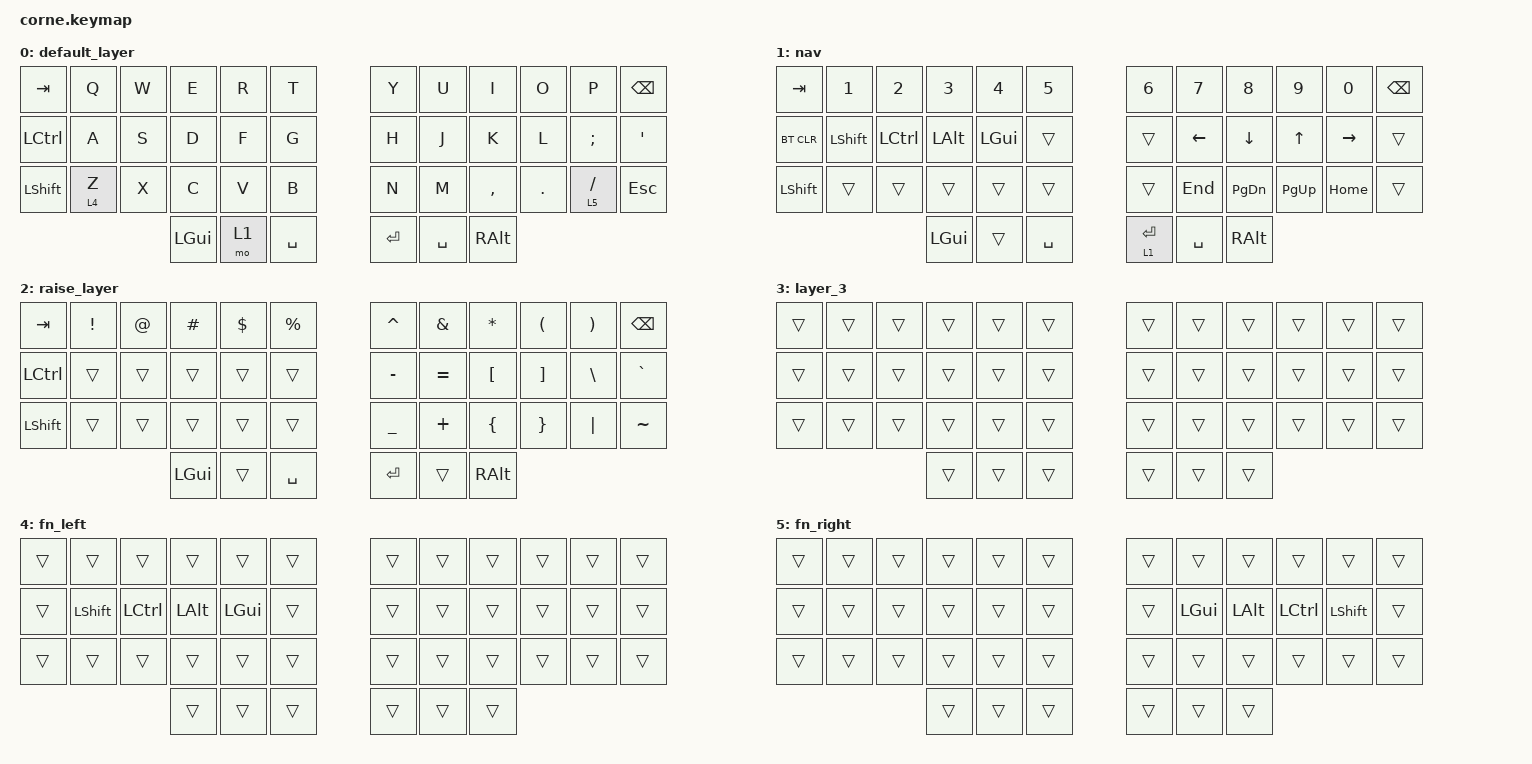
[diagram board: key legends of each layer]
/*
 * Copyright (c) 2020 The ZMK Contributors
 *
 * SPDX-License-Identifier: MIT
 */

#include <behaviors.dtsi>
#include <dt-bindings/zmk/bt.h>
#include <dt-bindings/zmk/keys.h>

/ {
    keymap {
        compatible = "zmk,keymap";

        default_layer {
            // -----------------------------------------------------------------------------------------
            // |  TAB |  Q  |  W  |  E  |  R  |  T  |   |  Y  |  U   |  I  |  O  |  P  | BSPC |
            // | CTRL |  A  |  S  |  D  |  F  |  G  |   |  H  |  J   |  K  |  L  |  ;  |  '   |
            // | SHFT |  Z  |  X  |  C  |  V  |  B  |   |  N  |  M   |  ,  |  .  |  /  | ESC  |
            //                    | GUI | LWR | SPC |   | ENT | RSE  | ALT |

            bindings = <
&kp TAB    &kp Q    &kp W  &kp E     &kp R  &kp T        &kp Y    &kp U      &kp I      &kp O    &kp P        &kp BSPC
&kp LCTRL  &kp A    &kp S  &kp D     &kp F  &kp G        &kp H    &kp J      &kp K      &kp L    &kp SEMI     &kp SQT
&kp LSHFT  &lt 4 Z  &kp X  &kp C     &kp V  &kp B        &kp N    &kp M      &kp COMMA  &kp DOT  &lt 5 SLASH  &kp ESC
                           &kp LGUI  &mo 1  &kp SPACE    &kp RET  &kp SPACE  &kp RALT
            >;
        };

        nav {
            // -----------------------------------------------------------------------------------------
            // |  TAB |  1  |  2  |  3  |  4  |  5  |   |  6  |  7  |  8  |  9  |  0  | BSPC |
            // | BTCLR| BT1 | BT2 | BT3 | BT4 | BT5 |   | LFT | DWN |  UP | RGT |     |      |
            // | SHFT |     |     |     |     |     |   |     |     |     |     |     |      |
            //                    | GUI |     | SPC |   | ENT |     | ALT |

            bindings = <
&kp TAB     &kp N1          &kp N2            &kp N3        &kp N4        &kp N5       &kp N6       &kp N7          &kp N8          &kp N9        &kp N0           &kp BSPC
&bt BT_CLR  &kp LEFT_SHIFT  &kp LEFT_CONTROL  &kp LEFT_ALT  &kp LEFT_GUI  &trans       &trans       &kp LEFT_ARROW  &kp DOWN_ARROW  &kp UP_ARROW  &kp RIGHT_ARROW  &trans
&kp LSHFT   &trans          &trans            &trans        &trans        &trans       &trans       &kp END         &kp PAGE_DOWN   &kp PG_UP     &kp HOME         &trans
                                              &kp LGUI      &trans        &kp SPACE    &lt 1 ENTER  &kp SPACE       &kp RALT
            >;
        };

        raise_layer {
            // -----------------------------------------------------------------------------------------
            // |  TAB |  !  |  @  |  #  |  $  |  %  |   |  ^  |  &  |  *  |  (  |  )  | BSPC |
            // | CTRL |     |     |     |     |     |   |  -  |  =  |  [  |  ]  |  \  |  `   |
            // | SHFT |     |     |     |     |     |   |  _  |  +  |  {  |  }  | "|" |  ~   |
            //                    | GUI |     | SPC |   | ENT |     | ALT |

            bindings = <
&kp TAB    &kp EXCL  &kp AT  &kp HASH  &kp DLLR  &kp PRCNT    &kp CARET  &kp AMPS   &kp ASTRK  &kp LPAR  &kp RPAR  &kp BSPC
&kp LCTRL  &trans    &trans  &trans    &trans    &trans       &kp MINUS  &kp EQUAL  &kp LBKT   &kp RBKT  &kp BSLH  &kp GRAVE
&kp LSHFT  &trans    &trans  &trans    &trans    &trans       &kp UNDER  &kp PLUS   &kp LBRC   &kp RBRC  &kp PIPE  &kp TILDE
                             &kp LGUI  &trans    &kp SPACE    &kp RET    &trans     &kp RALT
            >;
        };

        layer_3 {
            bindings = <
&trans  &trans  &trans  &trans  &trans  &trans    &trans  &trans  &trans  &trans  &trans  &trans
&trans  &trans  &trans  &trans  &trans  &trans    &trans  &trans  &trans  &trans  &trans  &trans
&trans  &trans  &trans  &trans  &trans  &trans    &trans  &trans  &trans  &trans  &trans  &trans
                        &trans  &trans  &trans    &trans  &trans  &trans
            >;
        };

        fn_left {
            bindings = <
&trans  &trans          &trans            &trans        &trans        &trans    &trans  &trans  &trans  &trans  &trans  &trans
&trans  &kp LEFT_SHIFT  &kp LEFT_CONTROL  &kp LEFT_ALT  &kp LEFT_GUI  &trans    &trans  &trans  &trans  &trans  &trans  &trans
&trans  &trans          &trans            &trans        &trans        &trans    &trans  &trans  &trans  &trans  &trans  &trans
                                          &trans        &trans        &trans    &trans  &trans  &trans
            >;
        };

        fn_right {
            bindings = <
&trans  &trans  &trans  &trans  &trans  &trans    &trans  &trans        &trans        &trans            &trans          &trans
&trans  &trans  &trans  &trans  &trans  &trans    &trans  &kp LEFT_GUI  &kp LEFT_ALT  &kp LEFT_CONTROL  &kp LEFT_SHIFT  &trans
&trans  &trans  &trans  &trans  &trans  &trans    &trans  &trans        &trans        &trans            &trans          &trans
                        &trans  &trans  &trans    &trans  &trans        &trans
            >;
        };
    };
};
